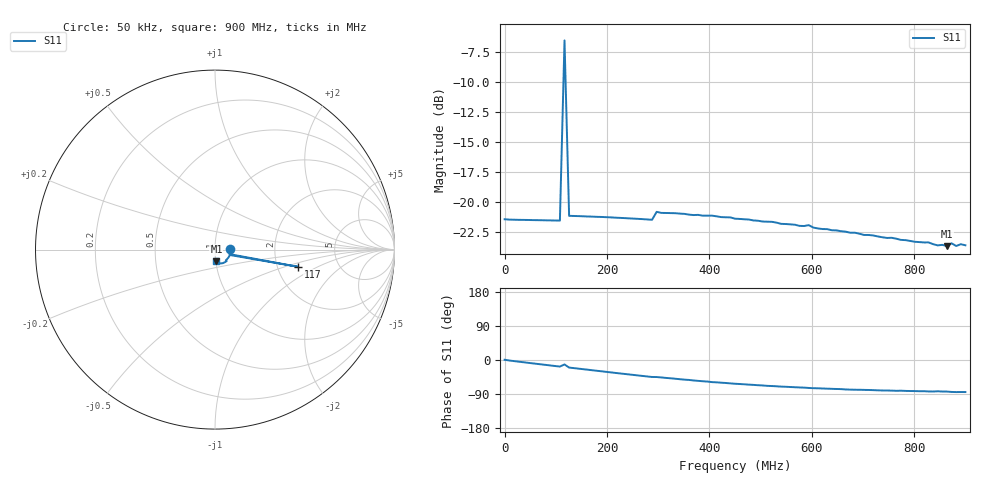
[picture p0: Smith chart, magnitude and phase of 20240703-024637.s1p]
# HZ S RI R 50
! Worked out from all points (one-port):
!   101 points, 50 kHz to 900 MHz, reference 50 ohm
!   lowest |S11| = -23.7 dB at 864 MHz (marker M1), VSWR 1.14, Z = 50.3 - j6.59 ohm
!   |S11| at or under -10 dB: start of sweep to 115 MHz; 119.2 MHz to end of sweep
!   S11 on the Smith chart (normalised r, x): 50 kHz: 1.19, +0.00; 117 MHz: 2.61, -0.64; 900 MHz: 1.00, -0.13
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50000  0.0849 0.000941
1.08044e8  0.08 -0.025
1.170435e8  0.4628 -0.0959
1.26043e8  0.0825 -0.03
2.250375e8  0.0702 -0.0498
2.88034e8  0.06 -0.0596
2.970335e8  0.0645 -0.0644
3.06033e8  0.0626 -0.065
3.42031e8  0.0568 -0.0693
4.050275e8  0.0462 -0.0748
4.410255e8  0.0409 -0.0762
4.50025e8  0.0392 -0.0759
5.670185e8  0.0251 -0.0766
5.850175e8  0.0235 -0.0761
5.94017e8  0.0224 -0.0771
6.030165e8  0.0211 -0.0755
6.12016e8  0.0205 -0.075
6.750125e8  0.0153 -0.073
6.84012e8  0.0149 -0.0731
7.92006e8  0.00978 -0.0683
8.28004e8  0.00833 -0.0675
8.46003e8  0.00861 -0.0655
8.550025e8  0.00785 -0.066
8.64002e8  0.00768 -0.0651
8.730015e8  0.00672 -0.0671
8.82001e8  0.00609 -0.0654
8.910005e8  0.0064 -0.0665
9e8  0.00624 -0.0658
